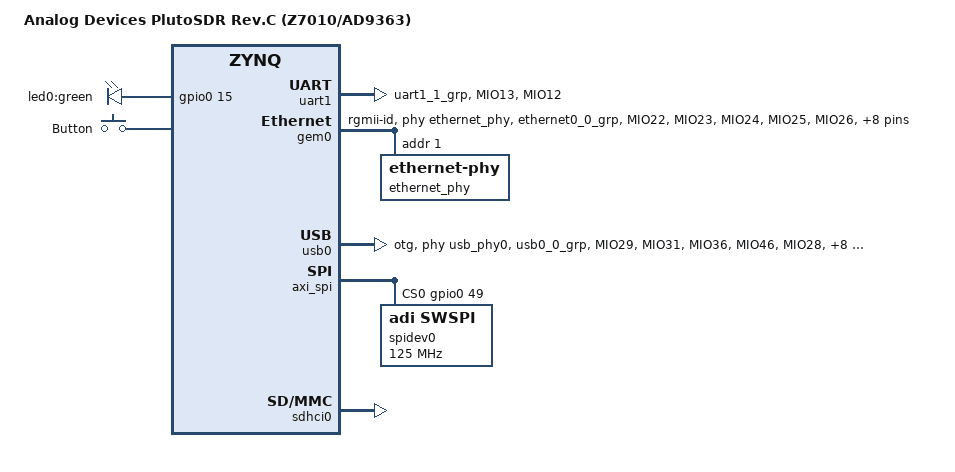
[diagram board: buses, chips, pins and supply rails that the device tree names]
// SPDX-License-Identifier: GPL-2.0
/*
 * Analog Devices ADALM Pluto
 * https://wiki.analog.com/university/tools/pluto
 * https://wiki.analog.com/university/tools/pluto/users
 * https://wiki.analog.com/university/tools/pluto/users/firmware
 * https://wiki.analog.com/university/tools/pluto/other
 *
 * hdl_project: <pluto>
 * board_revision: <C>
 *
 * Copyright (C) 2016-2019 Analog Devices Inc.
 */
/dts-v1/;
#include "zynq-pluto-sdr.dtsi"
#include <dt-bindings/input/input.h>
#include <dt-bindings/gpio/gpio.h>
#include <dt-bindings/interrupt-controller/irq.h>

&uart1 {
	u-boot,dm-pre-reloc;
	status = "okay";
	pinctrl-names = "default";
	pinctrl-0 = <&pinctrl_uart1_default>;
};

&gem0 {
	status = "okay";

    pinctrl-names = "default";
	pinctrl-0 = <&pinctrl_gem0_default>;
};

&usb0 {
	xlnx,phy-reset-gpio = <&gpio0 46 0>;
	dr_mode = "otg";
	status = "okay";
	pinctrl-names = "default";
	pinctrl-0 = <&pinctrl_usb0_default>;
	usb-phy = <&usb_phy0>;
};

&amba {
	axi_spi: axi_quad_spi@7C430000 {
		#address-cells = <1>;
		#size-cells = <0>;
		bits-per-word = <8>;
		compatible = "xlnx,xps-spi-2.00.a";
		fifo-size = <16>;
		interrupt-parent = <&intc>;
		interrupts = <0 55 IRQ_TYPE_LEVEL_HIGH>;
		cs-gpios = <&gpio0 49 0>;
		num-cs = <0x1>;
		reg = <0x7C430000 0x10000>;
		xlnx,num-ss-bits = <0x1>;
		xlnx,spi-mode = <0>;

		spidev0: spidev@0 {
			compatible = "adi,swspi";
			reg = <0>;	/* CE0 */
			#address-cells = <1>;
			#size-cells = <0>;
			spi-max-frequency = <125000000>;
		};
	};
};

&adc0_ad9364 {
	/* This property is controlled by u-boot environment. */
	adi,2rx-2tx-mode-enable;
};

&cf_ad9364_dac_core_0 {
	/* This property is controlled by u-boot environment. */
	compatible = "adi,axi-ad9361-dds-6.00.a";
};

&sdhci0 {
	status = "okay";
    disable-wp;
	};
	
&gem0 {
	status = "ok";
	phy-mode = "rgmii-id";
	phy-handle = <&ethernet_phy>;
	pinctrl-names = "default";
	pinctrl-0 = <&pinctrl_gem0_default>;


	ethernet_phy: ethernet-phy@1 {
		reg = <1>;
		device_type = "ethernet-phy";
	};
};

&pinctrl0 {
	pinctrl_gem0_default: gem0-default {
			mux {
				function = "ethernet0";
				groups = "ethernet0_0_grp";
			};

			conf {
				groups = "ethernet0_0_grp";
				slew-rate = <0>;
				io-standard = <1>;
			};

			conf-rx {
				pins = "MIO22", "MIO23", "MIO24", "MIO25", "MIO26", "MIO27";
				bias-high-impedance;
				low-power-disable;
			};

			conf-tx {
				pins = "MIO16", "MIO17", "MIO18", "MIO19", "MIO20", "MIO21";
				low-power-enable;
				bias-disable;
			};

			mux-mdio {
				function = "mdio0";
				groups = "mdio0_0_grp";
			};

			conf-mdio {
				groups = "mdio0_0_grp";
				slew-rate = <0>;
				io-standard = <1>;
				bias-disable;
			};
	};

	pinctrl_usb0_default: usb0-default {
		mux {
			groups = "usb0_0_grp";
			function = "usb0";
		};

		conf {
			groups = "usb0_0_grp";
			slew-rate = <0>;
			io-standard = <1>;
		};

		conf-rx {
			pins = "MIO29", "MIO31", "MIO36";
			bias-high-impedance;
		};

		conf-pull-up {
			pins = "MIO46";
			bias-pull-up;
		};

		conf-tx {
			pins = "MIO28", "MIO30", "MIO32", "MIO33", "MIO34",
					"MIO35", "MIO37", "MIO38", "MIO39";
			bias-disable;
		};
	};

	pinctrl_gpio0_default: gpio0-default {
		mux {
			function = "gpio0";
			groups = "gpio0_7_grp", "gpio0_11_grp", "gpio0_14_grp", "gpio0_46_grp";
		};

		conf {
			groups = "gpio0_7_grp", "gpio0_11_grp", "gpio0_14_grp", "gpio0_46_grp";
			slew-rate = <0>;
			io-standard = <1>;
		};

		conf-pull-up {
			pins = "MIO14";
			bias-pull-up;
		};

		conf-pull-none {
			pins = "MIO7", "MIO11";
			bias-disable;
		};
	};

	pinctrl_sdhci0_default: sdhci0-default {
		mux {
			groups = "sdio0_2_grp";
			function = "sdio0";
		};

		conf {
			groups = "sdio0_2_grp";
			slew-rate = <0>;
			io-standard = <1>;
			bias-disable;
		};

		mux-cd {
			groups = "gpio0_47_grp";
			function = "sdio0_cd";
		};

		conf-cd {
			groups = "gpio0_47_grp";
			bias-high-impedance;
			bias-pull-up;
			slew-rate = <0>;
			io-standard = <1>;
		};
	};

	pinctrl_uart1_default: uart1-default {
		mux {
			groups = "uart1_1_grp";
			function = "uart1";
		};

		conf {
			groups = "uart1_1_grp";
			slew-rate = <0>;
			io-standard = <1>;
		};

		conf-rx {
			pins = "MIO13";
			bias-high-impedance;
		};

		conf-tx {
			pins = "MIO12";
			bias-disable;
		};
	};
};


/ {
	model = "Analog Devices PlutoSDR Rev.C (Z7010/AD9363)";

	
	aliases {
		ethernet0 = &gem0;
		mmc0 = &sdhci0;
	};

	leds {
		compatible = "gpio-leds";
		led0 {
			label = "led0:green";
			gpios = <&gpio0 15 0>;
			linux,default-trigger = "heartbeat";
		};
	};

	gpio_keys {
		compatible = "gpio-keys";
		#address-cells = <1>;
		#size-cells = <0>;

		button {
			interrupt-parent = <&gpio0>;
			interrupts = <14 IRQ_TYPE_EDGE_FALLING>;
			label = "Button";
			linux,code = <BTN_MISC>;
		};
	};
};

